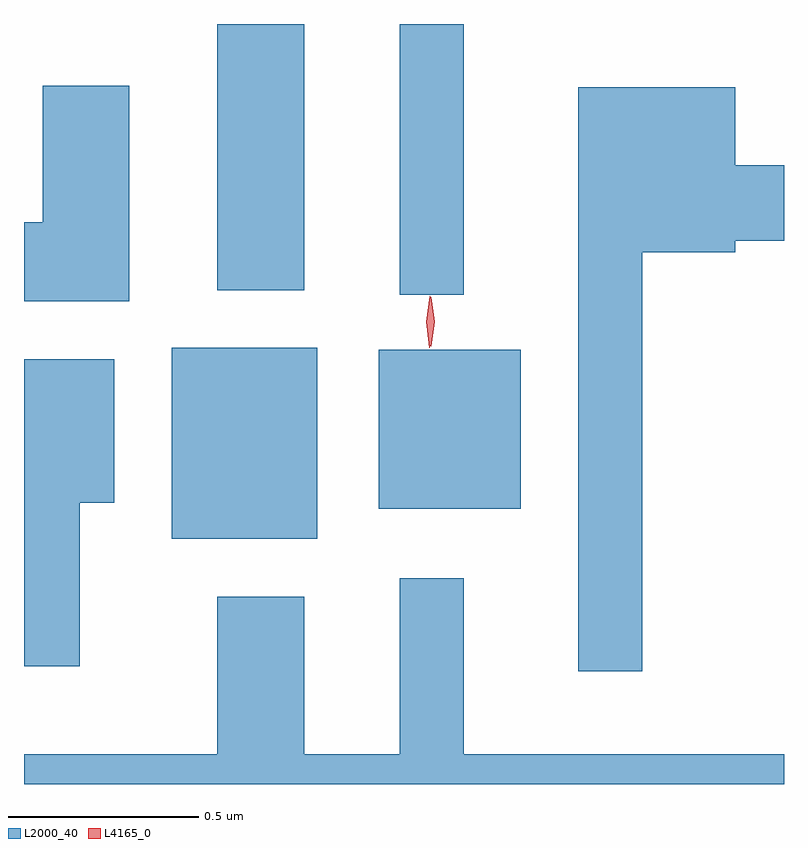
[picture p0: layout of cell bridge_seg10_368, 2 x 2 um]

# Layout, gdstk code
import gdstk
lib = gdstk.Library(unit=1e-6, precision=1e-09)
def R(c, l, rs):  # rectangles x0, y0, x1, y1
    for r in rs: c.add(gdstk.rectangle(r[:2], r[2:], *l))
def P(c, l, *ps):  # polygons
    for p in ps: c.add(gdstk.Polygon(p, *l))
L2000_40 = (2000, 40)
L4165_0 = (4165, 0)

bridge_seg10_368 = lib.new_cell('bridge_seg10_368')
R(bridge_seg10_368, L2000_40, [(1265.551,2156.931,1265.934,2157.434), (1266.096,2157.011,1266.469,2157.429), (1266.151,2157.573,1266.319,2158.286), (1265.671,2157.586,1265.899,2158.286)])
P(bridge_seg10_368, L2000_40, [(1265.439,2158.124),(1265.211,2158.124),(1265.211,2157.764),(1265.162,2157.764),(1265.162,2157.556),(1265.439,2157.556)],
  [(1266.789,2157.686),(1267.034,2157.686),(1267.034,2157.716),(1267.162,2157.716),(1267.162,2157.914),(1267.034,2157.914),(1267.034,2158.119),(1266.621,2158.119),(1266.621,2156.583),(1266.789,2156.583)],
  [(1265.309,2157.026),(1265.399,2157.026),(1265.399,2157.404),(1265.162,2157.404),(1265.162,2156.596),(1265.309,2156.596)],
  [(1267.162,2156.364),(1266.319,2156.364),(1266.319,2156.828),(1266.151,2156.828),(1266.151,2156.364),(1265.899,2156.364),(1265.899,2156.779),(1265.671,2156.779),(1265.671,2156.364),(1265.162,2156.364),(1265.162,2156.286),(1267.162,2156.286)])
P(bridge_seg10_368, L4165_0, [(1266.229,2157.434),(1266.22,2157.502),(1266.23,2157.57),(1266.231,2157.57),(1266.231,2157.57),(1266.24,2157.502),(1266.23,2157.434),(1266.23,2157.434)],
  [(1266.232,2157.438),(1266.223,2157.502),(1266.232,2157.567),(1266.233,2157.567),(1266.234,2157.567),(1266.243,2157.502),(1266.234,2157.438),(1266.233,2157.438)])

lib.write_gds('bridge_seg10_368.gds')
